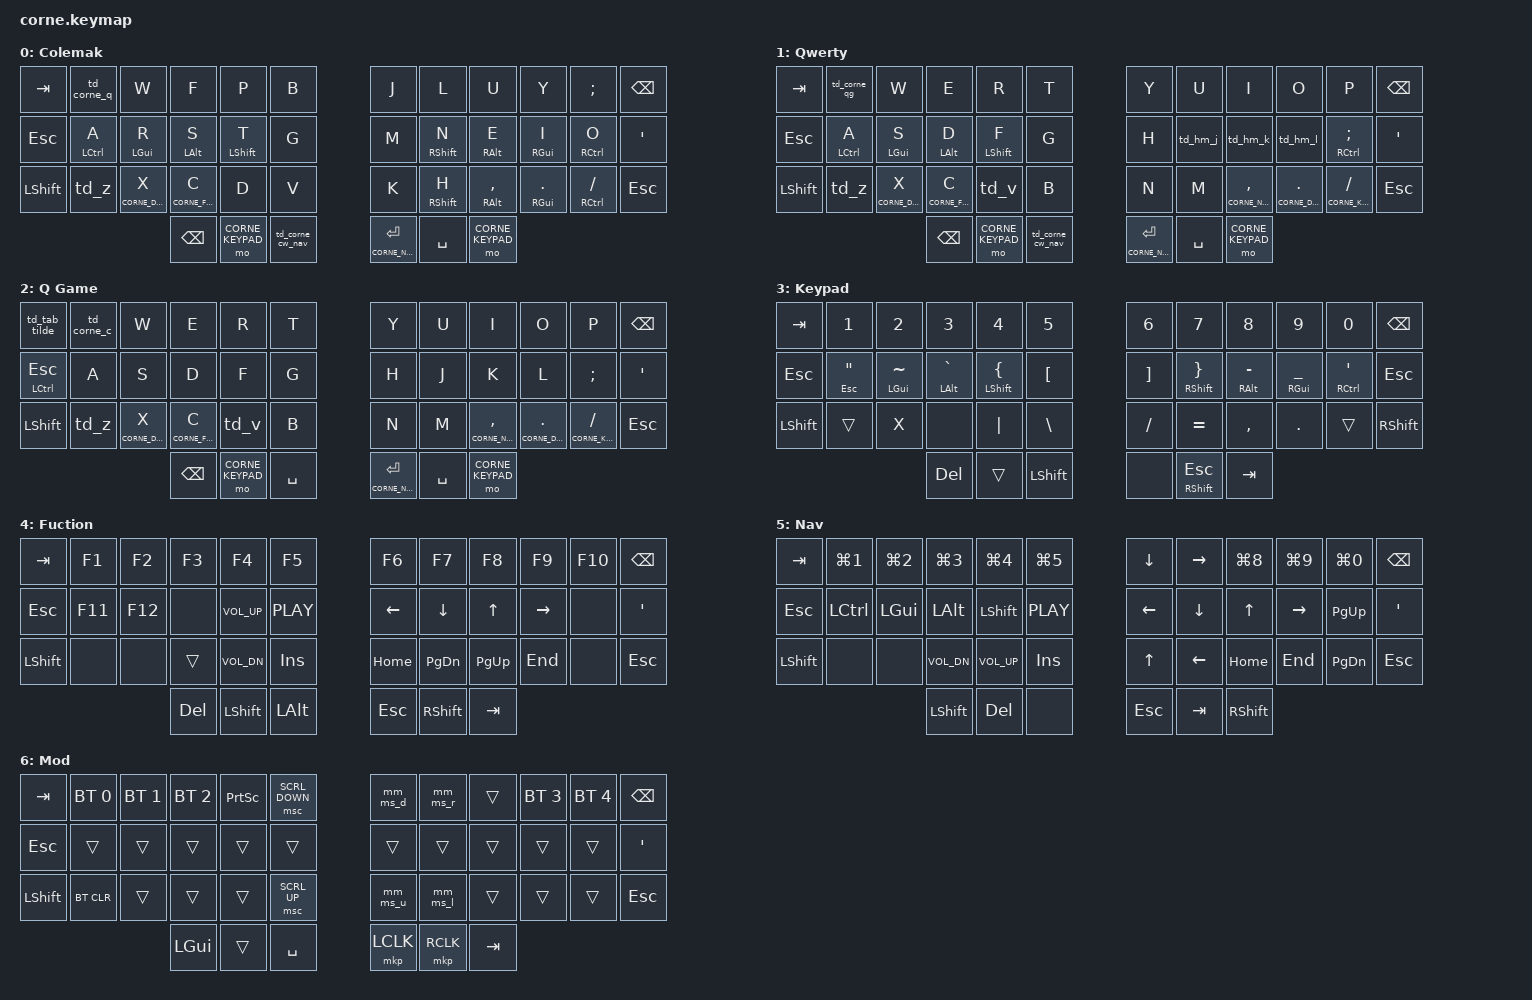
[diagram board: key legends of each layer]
/*
 * Copyright (c) 2020 The ZMK Contributors
 *
 * SPDX-License-Identifier: MIT
 */

#include <behaviors.dtsi>
#include <dt-bindings/zmk/keys.h>
#include <dt-bindings/zmk/bt.h>
#include <dt-bindings/zmk/pointing.h>

#define CORNE_COLEMAK_DH   0
#define CORNE_QWERTY       1
#define CORNE_QWERTY_GAME  2
#define CORNE_KEYPAD       3
#define CORNE_FUNCTION     4
#define CORNE_NAV          5
#define CORNE_DEF_MOD      6

#define QWERTY            CORNE_QWERTY

#define TD_HM_TAP_TERM     175
#define TD_Z_TAP_TERM      250
#define HM_TAP_TERM        180
#define HM_QUICK_TAP_TERM  150
#define HM_REQUIRE_IDLE_MS 125
#define TD_CW_TAP_TERM     190
#define LT_TAPPING_TERM    150

&lt {
    tapping-term-ms = <LT_TAPPING_TERM>;
};

/ {
    behaviors {

        hm: homerow_mods {
            compatible = "zmk,behavior-hold-tap";
            #binding-cells = <2>;
            tapping-term-ms = <HM_TAP_TERM>;
            quick-tap-ms = <HM_QUICK_TAP_TERM>;
            require-prior-idle-ms = <HM_REQUIRE_IDLE_MS>;
            flavor = "balanced";
            bindings = <&kp>, <&kp>;
        };

        td_hm_j: tap_dance_hm_j_shift {
            compatible = "zmk,behavior-tap-dance";
            #binding-cells = <0>;
            tapping-term-ms = <TD_HM_TAP_TERM>;
            bindings = <&hm RSHIFT J>, <&kp J>;
        };

        td_hm_k: tap_dance_hm_k_alt {
            compatible = "zmk,behavior-tap-dance";
            #binding-cells = <0>;
            tapping-term-ms = <HM_TAP_TERM>;
            bindings = <&hm RALT K>, <&kp K>;
        };

        td_hm_l: tap_dance_hm_l_gui {
            compatible = "zmk,behavior-tap-dance";
            #binding-cells = <0>;
            tapping-term-ms = <TD_HM_TAP_TERM>;
            bindings = <&hm RGUI L>, <&kp L>;
        };

        td_v: tap_dance_v_shift_v {
            compatible = "zmk,behavior-tap-dance";
            #binding-cells = <0>;
            tapping-term-ms = <TD_HM_TAP_TERM>;
            bindings = <&kp V>, <&kp LS(V)>;
        };

        td_z: tap_dance_z_ctrl_z {
            compatible = "zmk,behavior-tap-dance";
            #binding-cells = <0>;
            tapping-term-ms = <TD_Z_TAP_TERM>;
            bindings = <&lt CORNE_KEYPAD Z>, <&kp RC(Z)>;
        };

        td_q_esc: tap_dance_q_escape {
            compatible = "zmk,behavior-tap-dance";
            #binding-cells = <0>;
            tapping-term-ms = <TD_HM_TAP_TERM>;
            bindings = <&kp Q>, <&kp ESC>;
        };

        td_qwerty: tap_dance_to_qwerty {
            compatible = "zmk,behavior-tap-dance";
            #binding-cells = <0>;
            tapping-term-ms = <TD_HM_TAP_TERM>;
            bindings = <&none>, <&to QWERTY>;
        };

        td_corne_q: tap_dance_to_corne_qwerty {
            compatible = "zmk,behavior-tap-dance";
            #binding-cells = <0>;
            tapping-term-ms = <TD_HM_TAP_TERM>;
            bindings = <&kp Q>, <&to CORNE_QWERTY>;
        };

        td_corne_qg: tap_dance_to_corne_qwerty_game {
            compatible = "zmk,behavior-tap-dance";
            #binding-cells = <0>;
            tapping-term-ms = <TD_HM_TAP_TERM>;
            bindings = <&kp Q>, <&to CORNE_QWERTY_GAME>;
        };

        td_corne_c: tap_dance_to_corne_colemak {
            compatible = "zmk,behavior-tap-dance";
            #binding-cells = <0>;
            tapping-term-ms = <TD_HM_TAP_TERM>;
            bindings = <&kp Q>, <&to CORNE_COLEMAK_DH>;
        };

        td_corne_cw_nav: tap_dance_caps_corne {
            compatible = "zmk,behavior-tap-dance";
            #binding-cells = <0>;
            tapping-term-ms = <TD_CW_TAP_TERM>;
            bindings = <&lt CORNE_NAV SPACE>, <&caps_word>;
        };
        mm_ms_u: mouse_move_scroll_up {
            compatible = "zmk,behavior-mod-morph";
            #binding-cells = <0>;
            bindings = <&mmv MOVE_UP>, <&msc SCRL_UP>;
            mods = <(MOD_LSFT|MOD_RSFT)>;
        };
        mm_ms_d: mouse_move_scroll_down {
            compatible = "zmk,behavior-mod-morph";
            #binding-cells = <0>;
            bindings = <&mmv MOVE_DOWN>, <&msc SCRL_DOWN>;
            mods = <(MOD_LSFT|MOD_RSFT)>;
        };
        mm_ms_l: mouse_move_scroll_left {
            compatible = "zmk,behavior-mod-morph";
            #binding-cells = <0>;
            bindings = <&mmv MOVE_LEFT>, <&msc SCRL_LEFT>;
            mods = <(MOD_LSFT|MOD_RSFT)>;
        };
        mm_ms_r: mouse_move_scroll_right {
            compatible = "zmk,behavior-mod-morph";
            #binding-cells = <0>;
            bindings = <&mmv MOVE_RIGHT>, <&msc SCRL_RIGHT>;
            mods = <(MOD_LSFT|MOD_RSFT)>;
        };
        td_tab_tilde: tap_dance_tab_tilde {
            compatible = "zmk,behavior-tap-dance";
            #binding-cells = <0>;
            tapping-term-ms = <TD_HM_TAP_TERM>;
            bindings = <&kp TAB>, <&kp TILDE>;
        };

    };


        keymap {
                compatible = "zmk,keymap";

        corne_colemak_dh {
            display-name = "Colemak";
            bindings = <
  &kp TAB    &td_corne_q        &kp W                &kp F                 &kp P                 &kp B                  &kp J                &kp L         &kp U           &kp Y          &kp SEMI        &kp BSPC
  &kp ESC    &hm LCTRL A        &hm LGUI R           &hm LALT S            &hm LSHIFT T          &kp G                  &kp M                &hm RSHIFT N  &hm RALT E      &hm RGUI I    &hm RCTRL O      &kp SQT
  &kp LSHFT  &td_z              &lt CORNE_DEF_MOD X  &lt CORNE_FUNCTION C  &kp D                 &kp V                  &kp K                &hm RSHIFT H  &hm RALT COMMA  &hm  RGUI DOT  &hm RCTRL FSLH  &kp ESC
                                                     &kp BSPC              &mo CORNE_KEYPAD      &td_corne_cw_nav       &lt CORNE_NAV ENTER  &kp SPACE  &mo CORNE_KEYPAD
>;
        };

        qwerty_layer {
                display-name = "Qwerty";
            bindings = <
  &kp TAB    &td_corne_qg        &kp W                &kp E                 &kp R                 &kp T                  &kp Y                &kp U      &kp I                &kp  O                 &kp P                  &kp BSPC
  &kp ESC    &hm LCTRL A         &hm LGUI S           &hm LALT D            &hm LSHIFT F          &kp G                  &kp H                &td_hm_j   &td_hm_k             &td_hm_l               &hm RCTRL SEMI         &kp SQT
  &kp LSHFT  &td_z               &lt CORNE_DEF_MOD X  &lt CORNE_FUNCTION C  &td_v                 &kp B                  &kp N                &kp M      &lt CORNE_NAV COMMA  &lt CORNE_DEF_MOD DOT  &lt CORNE_KEYPAD FSLH  &kp ESC
                                                      &kp BSPC              &mo CORNE_KEYPAD      &td_corne_cw_nav       &lt CORNE_NAV ENTER  &kp SPACE  &mo CORNE_KEYPAD
 >;
        };

        qwerty_game_layer {
                display-name = "Q Game";
            bindings = <
  &td_tab_tilde  &td_corne_c   &kp W                &kp E                 &kp R                 &kp T                  &kp Y                &kp U      &kp I                &kp  O                 &kp P                  &kp BSPC
  &hm LCTRL ESC  &kp A         &kp S                &kp D                 &kp F                 &kp G                  &kp H                &kp J      &kp K                &kp L                  &kp SEMI               &kp SQT
  &kp LSHFT      &td_z         &lt CORNE_DEF_MOD X  &lt CORNE_FUNCTION C  &td_v                 &kp B                  &kp N                &kp M      &lt CORNE_NAV COMMA  &lt CORNE_DEF_MOD DOT  &lt CORNE_KEYPAD FSLH  &kp ESC
                                                    &kp BSPC              &mo CORNE_KEYPAD      &kp SPACE              &lt CORNE_NAV ENTER  &kp SPACE  &mo CORNE_KEYPAD
 >;
        };

        corne_layer_keypad {
            display-name = "Keypad";
             bindings = <
  &kp TAB    &kp N1           &kp N2          &kp N3          &kp N4           &kp N5      &kp N6    &kp N7           &kp N8          &kp N9           &kp N0         &kp BSPC
  &kp ESC    &hm ESC   DQT    &hm LGUI TILDE  &hm LALT GRAVE  &hm LSHIFT LBRC  &kp LBKT    &kp RBKT  &hm RSHIFT RBRC  &hm RALT MINUS  &hm RGUI UNDER   &hm RCTRL SQT  &kp ESC
  &kp LSHFT  &trans           &kp X           &none           &kp PIPE         &kp BSLH    &kp FSLH  &kp EQUAL        &kp COMMA       &kp DOT          &trans         &kp RSHIFT
                                              &kp DEL         &trans           &kp LSHIFT  &none     &hm RSHIFT ESC   &kp TAB
>;
};

corne_layer_fn {
    display-name = "Fuction";
    bindings = <
  &kp TAB    &kp F1   &kp F2   &kp F3   &kp F4        &kp F5       &kp F6    &kp F7      &kp F8     &kp F9     &kp F10 &kp BSPC
  &kp ESC    &kp F11  &kp F12  &none    &kp C_VOL_UP  &kp C_PLAY   &kp LEFT  &kp DOWN    &kp UP     &kp RIGHT  &none   &kp SQT
  &kp LSHFT  &none    &none    &trans   &kp C_VOL_DN  &kp INS      &kp HOME  &kp PG_DN   &kp PG_UP  &kp END    &none   &kp ESC
                               &kp DEL  &kp LSHIFT    &kp LALT     &kp ESC   &kp RSHIFT  &kp TAB
                     >;
};

corne_layer_nav {
    display-name = "Nav";
    bindings = <
  &kp TAB    &kp LG(N1)  &kp LG(N2)  &kp LG(N3)    &kp LG(N4)    &kp LG(N5)   &kp DOWN  &kp RIGHT  &kp LG(N8)  &kp LG(N9)  &kp LG(N0) &kp BSPC
  &kp ESC    &kp LCTRL   &kp LGUI    &kp LALT      &kp LSHIFT    &kp C_PLAY   &kp LEFT  &kp DOWN   &kp UP      &kp RIGHT   &kp PG_UP  &kp SQT
  &kp LSHFT  &none       &none       &kp C_VOL_DN  &kp C_VOL_UP  &kp INS      &kp UP    &kp LEFT   &kp HOME    &kp END     &kp PG_DN  &kp ESC
                                     &kp LSHIFT    &kp DEL       &none        &kp ESC   &kp TAB    &kp RSHIFT
                     >;
        };

                corne_mod_layer {
// -----------------------------------------------------------------------------------------
// | !     |  @  |  #  |  $  |  %  |     |  ^  |  &  |  *  |  (  |  )  |
// | BT1   | BT2 | BT3 | BT4 | BT5 |     | LFT | DWN |  UP | RGT |     |
// | BTCLR |     |     |     |     |     |     |     |     |     |     |
//               | GUI |     | SPC |     | ENT | ESC | TAB |
                        display-name = "Mod";
                        bindings = <
  &kp TAB    &bt BT_SEL 0 &bt BT_SEL 1 &bt BT_SEL 2 &kp PRINTSCREEN &msc SCRL_DOWN   &mm_ms_d  &mm_ms_r  &trans  &bt BT_SEL 3  &bt BT_SEL 4 &kp BSPC
  &kp ESC    &trans       &trans       &trans       &trans          &trans           &trans    &trans    &trans  &trans        &trans       &kp SQT
  &kp LSHFT  &bt BT_CLR   &trans       &trans       &trans          &msc SCRL_UP     &mm_ms_u  &mm_ms_l  &trans  &trans        &trans       &kp ESC
                                       &kp LGUI     &trans          &kp SPACE        &mkp LCLK &mkp RCLK &kp TAB
                        >;
                };
        };
};
